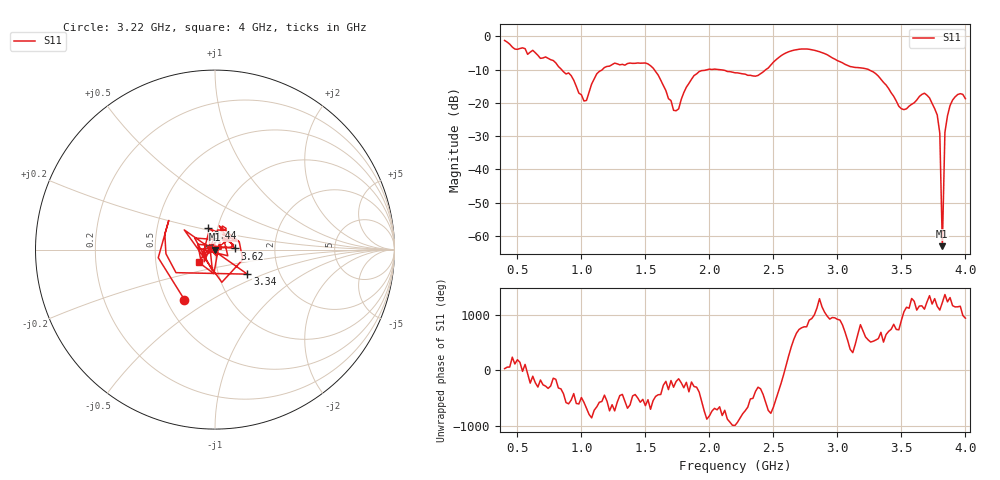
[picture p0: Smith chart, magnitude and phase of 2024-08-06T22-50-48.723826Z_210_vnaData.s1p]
!Created with skrf (http://scikit-rf.org).
# Hz S RI R 50.0
!freq ReS11 ImS11
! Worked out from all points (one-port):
!   181 points, 400 MHz to 4 GHz, reference 50 ohm
!   lowest |S11| = -63.1 dB at 3.82 GHz (marker M1), VSWR 1.00, Z = 49.9 + j0.0452 ohm
!   |S11| at or under -10 dB: 1.569 GHz to 1.985 GHz (416.3 MHz wide, 23.4 % of centre); 2.077 GHz to 2.441 GHz (364.2 MHz wide, 16.1 % of centre); 3.244 GHz to end of sweep (the widest 3 of 4)
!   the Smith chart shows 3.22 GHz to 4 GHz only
!   S11 on the Smith chart (normalised r, x): 3.22 GHz: 0.62, -0.39; 3.34 GHz: 1.37, -0.40; 3.44 GHz: 0.90, +0.22; 3.62 GHz: 1.25, +0.02; 4 GHz: 0.82, -0.12
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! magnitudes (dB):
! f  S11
! 400 MHz  -1.2
! 860 MHz  -10.6
! 1.02 GHz  -19.4
! 1.12 GHz  -11.3
! 1.3 GHz  -8.6
! 1.54 GHz  -8.8
! 1.72 GHz  -22.2
! 1.76 GHz  -21.8
! 1.82 GHz  -15.3
! 1.92 GHz  -10.6
! 2.2 GHz  -11.0
! 2.38 GHz  -11.7
! 2.66 GHz  -4.1
! 3.1 GHz  -9.1
! 3.22 GHz  -9.7
! 3.34 GHz  -12.9
! 3.44 GHz  -18.0
! 3.5 GHz  -21.8
! 3.56 GHz  -21.0
! 3.62 GHz  -19.2
! 3.68 GHz  -17.1
! 3.78 GHz  -23.7
! 3.8 GHz  -29.1
! 3.82 GHz  -63.1
! 3.84 GHz  -28.9
! 3.86 GHz  -23.9
! 3.92 GHz  -18.2
! 4 GHz  -18.7
